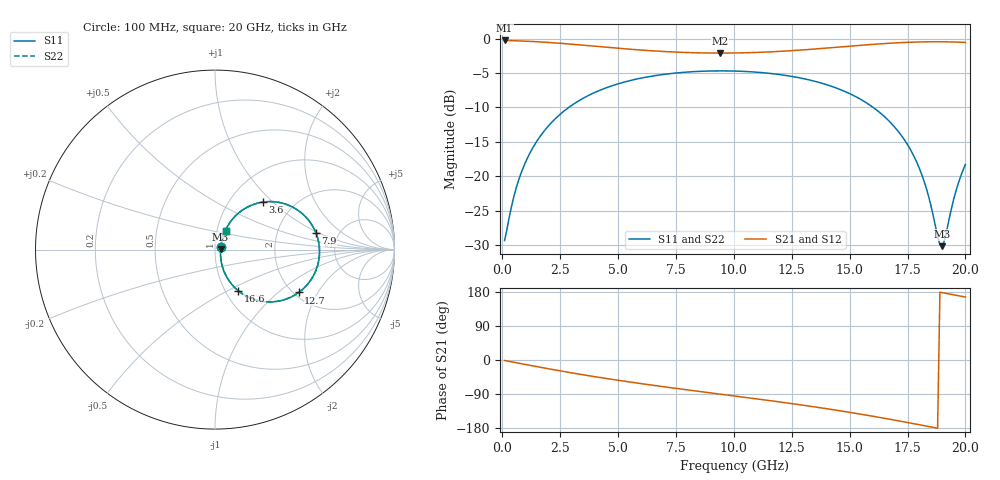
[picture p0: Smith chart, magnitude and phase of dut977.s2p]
! Touchstone file exported from HFSS 2026.1.0
!  File:  C:/ffzhzh/LocalFiles/Ansys_Project_Files/temp_train_TSV_RDL_977_1783286412_39728.aedt
!  Generated:  05:30:38 AM Jul  6, 2026
!  Design:  TSV_RDL
!  Project:  temp_train_TSV_RDL_977_1783286412_39728
! Variables:
!  h_bsmrdl = 2.24um
!  h_ox = 20um
!  h_rdl = 5um
!  h_sub = 52.7um
!  h_tmrdl = 5.39um
!  h_tsv = 52.7um
!  h_via = 3um
!  l_bsmrdl = 805.52um
!  l_sub = 3383um
!  l_tmrdl = 111.67um
!  m_sub = 200um
!  pitch = 40.9um
!  r_tsv = 2.1um
!  s_tmrdl = 10um
!  w_bsmrdl = 17.56um
!  w_sub = 500um
!  w_tmrdl = 22.36um
!  x_tsv_center1 = 122.85um
!  x_tsv_center2 = 945.93um
!  x_tsv_center3 = 1079.96um
!  x_tsv_center4 = 1903.04um
!  x_tsv_center5 = 2037.07um
!  x_tsv_center6 = 2860.15um
# GHz S MA R 50.000000
! Terminal data exported
! Port[1] = TM_RDL1_1_T1
! Port[2] = TM_RDL5_1_T1
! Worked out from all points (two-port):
!   200 points, 100 MHz to 20 GHz, reference 50 ohm
!   highest |S21| = -0.28 dB at 100 MHz (marker M1); lowest = -2.1 dB at 9.4 GHz (marker M2)
!   |S21| within 3 dB of the highest: start of sweep to end of sweep
!   lowest |S11| = -30.1 dB at 19 GHz (marker M3), VSWR 1.06, Z = 53.2 + j0.154 ohm
!   |S11| at or under -10 dB: start of sweep to 2.868 GHz; 16.02 GHz to end of sweep
!   |S22| runs from -30.1 to -4.7 dB; largest |S21 - S12| = 5.7e-14
!   S11 on the Smith chart (normalised r, x): 100 MHz: 1.07, +0.03; 3.6 GHz: 1.42, +0.88; 7.9 GHz: 3.36, +0.94; 12.7 GHz: 2.12, -1.40; 16.6 GHz: 1.15, -0.56; 20 GHz: 1.10, +0.24
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0.1  0.03425 21.1  0.9682 -1.2  0.9682 -1.2  0.03425 21.1
! Gamma 0 0 0 0
! Port Impedance 50 0 50 0
0.6  0.08236 58.1  0.9628 -7.2  0.9628 -7.2  0.08236 58.1
1.3  0.1593 61.6  0.9517 -15.3  0.9517 -15.3  0.1593 61.6
2.2  0.2533 56.4  0.9317 -25.4  0.9317 -25.4  0.2533 56.4
3.5  0.3694 45.5  0.8945 -39.1  0.8945 -39.1  0.3694 45.5
3.6  0.3772 44.6  0.8914 -40.1  0.8914 -40.1  0.3772 44.6
6.8  0.5444 18.0  0.8082 -69.2  0.8082 -69.2  0.5444 18.0
7.9  0.5698 9.5  0.7924 -78.1  0.7924 -78.1  0.5698 9.5
9.4  0.5827 -1.8  0.7842 -90.0  0.7842 -90.0  0.5827 -1.8
10.1  0.5804 -7.0  0.7858 -95.5  0.7858 -95.5  0.5805 -7.0
12.7  0.524 -27.1  0.8208 -116.8  0.8208 -116.8  0.524 -27.1
13.4  0.4942 -32.9  0.8369 -122.9  0.8369 -122.9  0.4942 -32.9
15.2  0.3837 -48.5  0.8856 -140.1  0.8856 -140.1  0.3837 -48.4
16.6  0.2622 -60.6  0.9217 -154.8  0.9217 -154.8  0.2623 -60.6
16.7  0.2524 -61.4  0.9239 -155.9  0.9239 -155.9  0.2525 -61.4
17.4  0.1806 -66.2  0.937 -163.8  0.937 -163.8  0.1806 -66.2
18  0.1158 -67.2  0.9444 -170.7  0.9444 -170.7  0.1158 -67.2
18.4  0.07277 -62.1  0.947 -175.3  0.947 -175.3  0.07284 -62.0
18.9  0.03198 -17.3  0.9475 178.9  0.9475 178.9  0.0321 -17.3
19  0.03118 2.7  0.9472 177.7  0.9472 177.7  0.03131 2.6
19.6  0.07915 56.2  0.9429 170.8  0.9429 170.8  0.0792 56.1
20  0.122 60.0  0.9376 166.2  0.9376 166.2  0.122 60.0
